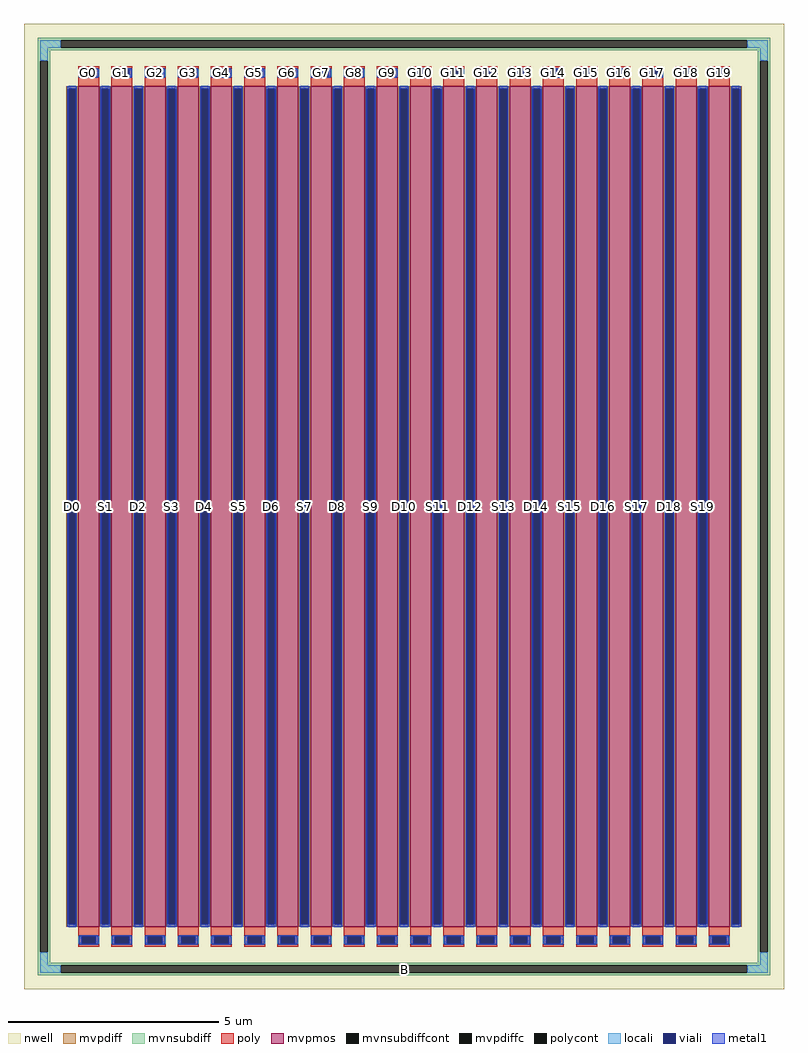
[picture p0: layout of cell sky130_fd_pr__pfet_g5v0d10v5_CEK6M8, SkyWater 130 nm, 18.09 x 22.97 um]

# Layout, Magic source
magic
tech sky130A
magscale 1 2
<< nwell >>
rect -1809 -2297 1809 2297
<< mvpmos >>
rect -1551 -2000 -1451 2000
rect -1393 -2000 -1293 2000
rect -1235 -2000 -1135 2000
rect -1077 -2000 -977 2000
rect -919 -2000 -819 2000
rect -761 -2000 -661 2000
rect -603 -2000 -503 2000
rect -445 -2000 -345 2000
rect -287 -2000 -187 2000
rect -129 -2000 -29 2000
rect 29 -2000 129 2000
rect 187 -2000 287 2000
rect 345 -2000 445 2000
rect 503 -2000 603 2000
rect 661 -2000 761 2000
rect 819 -2000 919 2000
rect 977 -2000 1077 2000
rect 1135 -2000 1235 2000
rect 1293 -2000 1393 2000
rect 1451 -2000 1551 2000
<< mvpdiff >>
rect -1609 1988 -1551 2000
rect -1609 -1988 -1597 1988
rect -1563 -1988 -1551 1988
rect -1609 -2000 -1551 -1988
rect -1451 1988 -1393 2000
rect -1451 -1988 -1439 1988
rect -1405 -1988 -1393 1988
rect -1451 -2000 -1393 -1988
rect -1293 1988 -1235 2000
rect -1293 -1988 -1281 1988
rect -1247 -1988 -1235 1988
rect -1293 -2000 -1235 -1988
rect -1135 1988 -1077 2000
rect -1135 -1988 -1123 1988
rect -1089 -1988 -1077 1988
rect -1135 -2000 -1077 -1988
rect -977 1988 -919 2000
rect -977 -1988 -965 1988
rect -931 -1988 -919 1988
rect -977 -2000 -919 -1988
rect -819 1988 -761 2000
rect -819 -1988 -807 1988
rect -773 -1988 -761 1988
rect -819 -2000 -761 -1988
rect -661 1988 -603 2000
rect -661 -1988 -649 1988
rect -615 -1988 -603 1988
rect -661 -2000 -603 -1988
rect -503 1988 -445 2000
rect -503 -1988 -491 1988
rect -457 -1988 -445 1988
rect -503 -2000 -445 -1988
rect -345 1988 -287 2000
rect -345 -1988 -333 1988
rect -299 -1988 -287 1988
rect -345 -2000 -287 -1988
rect -187 1988 -129 2000
rect -187 -1988 -175 1988
rect -141 -1988 -129 1988
rect -187 -2000 -129 -1988
rect -29 1988 29 2000
rect -29 -1988 -17 1988
rect 17 -1988 29 1988
rect -29 -2000 29 -1988
rect 129 1988 187 2000
rect 129 -1988 141 1988
rect 175 -1988 187 1988
rect 129 -2000 187 -1988
rect 287 1988 345 2000
rect 287 -1988 299 1988
rect 333 -1988 345 1988
rect 287 -2000 345 -1988
rect 445 1988 503 2000
rect 445 -1988 457 1988
rect 491 -1988 503 1988
rect 445 -2000 503 -1988
rect 603 1988 661 2000
rect 603 -1988 615 1988
rect 649 -1988 661 1988
rect 603 -2000 661 -1988
rect 761 1988 819 2000
rect 761 -1988 773 1988
rect 807 -1988 819 1988
rect 761 -2000 819 -1988
rect 919 1988 977 2000
rect 919 -1988 931 1988
rect 965 -1988 977 1988
rect 919 -2000 977 -1988
rect 1077 1988 1135 2000
rect 1077 -1988 1089 1988
rect 1123 -1988 1135 1988
rect 1077 -2000 1135 -1988
rect 1235 1988 1293 2000
rect 1235 -1988 1247 1988
rect 1281 -1988 1293 1988
rect 1235 -2000 1293 -1988
rect 1393 1988 1451 2000
rect 1393 -1988 1405 1988
rect 1439 -1988 1451 1988
rect 1393 -2000 1451 -1988
rect 1551 1988 1609 2000
rect 1551 -1988 1563 1988
rect 1597 -1988 1609 1988
rect 1551 -2000 1609 -1988
<< mvpdiffc >>
rect -1597 -1988 -1563 1988
rect -1439 -1988 -1405 1988
rect -1281 -1988 -1247 1988
rect -1123 -1988 -1089 1988
rect -965 -1988 -931 1988
rect -807 -1988 -773 1988
rect -649 -1988 -615 1988
rect -491 -1988 -457 1988
rect -333 -1988 -299 1988
rect -175 -1988 -141 1988
rect -17 -1988 17 1988
rect 141 -1988 175 1988
rect 299 -1988 333 1988
rect 457 -1988 491 1988
rect 615 -1988 649 1988
rect 773 -1988 807 1988
rect 931 -1988 965 1988
rect 1089 -1988 1123 1988
rect 1247 -1988 1281 1988
rect 1405 -1988 1439 1988
rect 1563 -1988 1597 1988
<< mvnsubdiff >>
rect -1743 2219 1743 2231
rect -1743 2185 -1635 2219
rect 1635 2185 1743 2219
rect -1743 2173 1743 2185
rect -1743 2123 -1685 2173
rect -1743 -2123 -1731 2123
rect -1697 -2123 -1685 2123
rect 1685 2123 1743 2173
rect -1743 -2173 -1685 -2123
rect 1685 -2123 1697 2123
rect 1731 -2123 1743 2123
rect 1685 -2173 1743 -2123
rect -1743 -2185 1743 -2173
rect -1743 -2219 -1635 -2185
rect 1635 -2219 1743 -2185
rect -1743 -2231 1743 -2219
<< mvnsubdiffcont >>
rect -1635 2185 1635 2219
rect -1731 -2123 -1697 2123
rect 1697 -2123 1731 2123
rect -1635 -2219 1635 -2185
<< poly >>
rect -1551 2081 -1451 2097
rect -1551 2047 -1535 2081
rect -1467 2047 -1451 2081
rect -1551 2000 -1451 2047
rect -1393 2081 -1293 2097
rect -1393 2047 -1377 2081
rect -1309 2047 -1293 2081
rect -1393 2000 -1293 2047
rect -1235 2081 -1135 2097
rect -1235 2047 -1219 2081
rect -1151 2047 -1135 2081
rect -1235 2000 -1135 2047
rect -1077 2081 -977 2097
rect -1077 2047 -1061 2081
rect -993 2047 -977 2081
rect -1077 2000 -977 2047
rect -919 2081 -819 2097
rect -919 2047 -903 2081
rect -835 2047 -819 2081
rect -919 2000 -819 2047
rect -761 2081 -661 2097
rect -761 2047 -745 2081
rect -677 2047 -661 2081
rect -761 2000 -661 2047
rect -603 2081 -503 2097
rect -603 2047 -587 2081
rect -519 2047 -503 2081
rect -603 2000 -503 2047
rect -445 2081 -345 2097
rect -445 2047 -429 2081
rect -361 2047 -345 2081
rect -445 2000 -345 2047
rect -287 2081 -187 2097
rect -287 2047 -271 2081
rect -203 2047 -187 2081
rect -287 2000 -187 2047
rect -129 2081 -29 2097
rect -129 2047 -113 2081
rect -45 2047 -29 2081
rect -129 2000 -29 2047
rect 29 2081 129 2097
rect 29 2047 45 2081
rect 113 2047 129 2081
rect 29 2000 129 2047
rect 187 2081 287 2097
rect 187 2047 203 2081
rect 271 2047 287 2081
rect 187 2000 287 2047
rect 345 2081 445 2097
rect 345 2047 361 2081
rect 429 2047 445 2081
rect 345 2000 445 2047
rect 503 2081 603 2097
rect 503 2047 519 2081
rect 587 2047 603 2081
rect 503 2000 603 2047
rect 661 2081 761 2097
rect 661 2047 677 2081
rect 745 2047 761 2081
rect 661 2000 761 2047
rect 819 2081 919 2097
rect 819 2047 835 2081
rect 903 2047 919 2081
rect 819 2000 919 2047
rect 977 2081 1077 2097
rect 977 2047 993 2081
rect 1061 2047 1077 2081
rect 977 2000 1077 2047
rect 1135 2081 1235 2097
rect 1135 2047 1151 2081
rect 1219 2047 1235 2081
rect 1135 2000 1235 2047
rect 1293 2081 1393 2097
rect 1293 2047 1309 2081
rect 1377 2047 1393 2081
rect 1293 2000 1393 2047
rect 1451 2081 1551 2097
rect 1451 2047 1467 2081
rect 1535 2047 1551 2081
rect 1451 2000 1551 2047
rect -1551 -2047 -1451 -2000
rect -1551 -2081 -1535 -2047
rect -1467 -2081 -1451 -2047
rect -1551 -2097 -1451 -2081
rect -1393 -2047 -1293 -2000
rect -1393 -2081 -1377 -2047
rect -1309 -2081 -1293 -2047
rect -1393 -2097 -1293 -2081
rect -1235 -2047 -1135 -2000
rect -1235 -2081 -1219 -2047
rect -1151 -2081 -1135 -2047
rect -1235 -2097 -1135 -2081
rect -1077 -2047 -977 -2000
rect -1077 -2081 -1061 -2047
rect -993 -2081 -977 -2047
rect -1077 -2097 -977 -2081
rect -919 -2047 -819 -2000
rect -919 -2081 -903 -2047
rect -835 -2081 -819 -2047
rect -919 -2097 -819 -2081
rect -761 -2047 -661 -2000
rect -761 -2081 -745 -2047
rect -677 -2081 -661 -2047
rect -761 -2097 -661 -2081
rect -603 -2047 -503 -2000
rect -603 -2081 -587 -2047
rect -519 -2081 -503 -2047
rect -603 -2097 -503 -2081
rect -445 -2047 -345 -2000
rect -445 -2081 -429 -2047
rect -361 -2081 -345 -2047
rect -445 -2097 -345 -2081
rect -287 -2047 -187 -2000
rect -287 -2081 -271 -2047
rect -203 -2081 -187 -2047
rect -287 -2097 -187 -2081
rect -129 -2047 -29 -2000
rect -129 -2081 -113 -2047
rect -45 -2081 -29 -2047
rect -129 -2097 -29 -2081
rect 29 -2047 129 -2000
rect 29 -2081 45 -2047
rect 113 -2081 129 -2047
rect 29 -2097 129 -2081
rect 187 -2047 287 -2000
rect 187 -2081 203 -2047
rect 271 -2081 287 -2047
rect 187 -2097 287 -2081
rect 345 -2047 445 -2000
rect 345 -2081 361 -2047
rect 429 -2081 445 -2047
rect 345 -2097 445 -2081
rect 503 -2047 603 -2000
rect 503 -2081 519 -2047
rect 587 -2081 603 -2047
rect 503 -2097 603 -2081
rect 661 -2047 761 -2000
rect 661 -2081 677 -2047
rect 745 -2081 761 -2047
rect 661 -2097 761 -2081
rect 819 -2047 919 -2000
rect 819 -2081 835 -2047
rect 903 -2081 919 -2047
rect 819 -2097 919 -2081
rect 977 -2047 1077 -2000
rect 977 -2081 993 -2047
rect 1061 -2081 1077 -2047
rect 977 -2097 1077 -2081
rect 1135 -2047 1235 -2000
rect 1135 -2081 1151 -2047
rect 1219 -2081 1235 -2047
rect 1135 -2097 1235 -2081
rect 1293 -2047 1393 -2000
rect 1293 -2081 1309 -2047
rect 1377 -2081 1393 -2047
rect 1293 -2097 1393 -2081
rect 1451 -2047 1551 -2000
rect 1451 -2081 1467 -2047
rect 1535 -2081 1551 -2047
rect 1451 -2097 1551 -2081
<< polycont >>
rect -1535 2047 -1467 2081
rect -1377 2047 -1309 2081
rect -1219 2047 -1151 2081
rect -1061 2047 -993 2081
rect -903 2047 -835 2081
rect -745 2047 -677 2081
rect -587 2047 -519 2081
rect -429 2047 -361 2081
rect -271 2047 -203 2081
rect -113 2047 -45 2081
rect 45 2047 113 2081
rect 203 2047 271 2081
rect 361 2047 429 2081
rect 519 2047 587 2081
rect 677 2047 745 2081
rect 835 2047 903 2081
rect 993 2047 1061 2081
rect 1151 2047 1219 2081
rect 1309 2047 1377 2081
rect 1467 2047 1535 2081
rect -1535 -2081 -1467 -2047
rect -1377 -2081 -1309 -2047
rect -1219 -2081 -1151 -2047
rect -1061 -2081 -993 -2047
rect -903 -2081 -835 -2047
rect -745 -2081 -677 -2047
rect -587 -2081 -519 -2047
rect -429 -2081 -361 -2047
rect -271 -2081 -203 -2047
rect -113 -2081 -45 -2047
rect 45 -2081 113 -2047
rect 203 -2081 271 -2047
rect 361 -2081 429 -2047
rect 519 -2081 587 -2047
rect 677 -2081 745 -2047
rect 835 -2081 903 -2047
rect 993 -2081 1061 -2047
rect 1151 -2081 1219 -2047
rect 1309 -2081 1377 -2047
rect 1467 -2081 1535 -2047
<< locali >>
rect -1731 2185 -1635 2219
rect 1635 2185 1731 2219
rect -1731 2123 -1697 2185
rect 1697 2123 1731 2185
rect -1551 2047 -1535 2081
rect -1467 2047 -1451 2081
rect -1393 2047 -1377 2081
rect -1309 2047 -1293 2081
rect -1235 2047 -1219 2081
rect -1151 2047 -1135 2081
rect -1077 2047 -1061 2081
rect -993 2047 -977 2081
rect -919 2047 -903 2081
rect -835 2047 -819 2081
rect -761 2047 -745 2081
rect -677 2047 -661 2081
rect -603 2047 -587 2081
rect -519 2047 -503 2081
rect -445 2047 -429 2081
rect -361 2047 -345 2081
rect -287 2047 -271 2081
rect -203 2047 -187 2081
rect -129 2047 -113 2081
rect -45 2047 -29 2081
rect 29 2047 45 2081
rect 113 2047 129 2081
rect 187 2047 203 2081
rect 271 2047 287 2081
rect 345 2047 361 2081
rect 429 2047 445 2081
rect 503 2047 519 2081
rect 587 2047 603 2081
rect 661 2047 677 2081
rect 745 2047 761 2081
rect 819 2047 835 2081
rect 903 2047 919 2081
rect 977 2047 993 2081
rect 1061 2047 1077 2081
rect 1135 2047 1151 2081
rect 1219 2047 1235 2081
rect 1293 2047 1309 2081
rect 1377 2047 1393 2081
rect 1451 2047 1467 2081
rect 1535 2047 1551 2081
rect -1597 1988 -1563 2004
rect -1597 -2004 -1563 -1988
rect -1439 1988 -1405 2004
rect -1439 -2004 -1405 -1988
rect -1281 1988 -1247 2004
rect -1281 -2004 -1247 -1988
rect -1123 1988 -1089 2004
rect -1123 -2004 -1089 -1988
rect -965 1988 -931 2004
rect -965 -2004 -931 -1988
rect -807 1988 -773 2004
rect -807 -2004 -773 -1988
rect -649 1988 -615 2004
rect -649 -2004 -615 -1988
rect -491 1988 -457 2004
rect -491 -2004 -457 -1988
rect -333 1988 -299 2004
rect -333 -2004 -299 -1988
rect -175 1988 -141 2004
rect -175 -2004 -141 -1988
rect -17 1988 17 2004
rect -17 -2004 17 -1988
rect 141 1988 175 2004
rect 141 -2004 175 -1988
rect 299 1988 333 2004
rect 299 -2004 333 -1988
rect 457 1988 491 2004
rect 457 -2004 491 -1988
rect 615 1988 649 2004
rect 615 -2004 649 -1988
rect 773 1988 807 2004
rect 773 -2004 807 -1988
rect 931 1988 965 2004
rect 931 -2004 965 -1988
rect 1089 1988 1123 2004
rect 1089 -2004 1123 -1988
rect 1247 1988 1281 2004
rect 1247 -2004 1281 -1988
rect 1405 1988 1439 2004
rect 1405 -2004 1439 -1988
rect 1563 1988 1597 2004
rect 1563 -2004 1597 -1988
rect -1551 -2081 -1535 -2047
rect -1467 -2081 -1451 -2047
rect -1393 -2081 -1377 -2047
rect -1309 -2081 -1293 -2047
rect -1235 -2081 -1219 -2047
rect -1151 -2081 -1135 -2047
rect -1077 -2081 -1061 -2047
rect -993 -2081 -977 -2047
rect -919 -2081 -903 -2047
rect -835 -2081 -819 -2047
rect -761 -2081 -745 -2047
rect -677 -2081 -661 -2047
rect -603 -2081 -587 -2047
rect -519 -2081 -503 -2047
rect -445 -2081 -429 -2047
rect -361 -2081 -345 -2047
rect -287 -2081 -271 -2047
rect -203 -2081 -187 -2047
rect -129 -2081 -113 -2047
rect -45 -2081 -29 -2047
rect 29 -2081 45 -2047
rect 113 -2081 129 -2047
rect 187 -2081 203 -2047
rect 271 -2081 287 -2047
rect 345 -2081 361 -2047
rect 429 -2081 445 -2047
rect 503 -2081 519 -2047
rect 587 -2081 603 -2047
rect 661 -2081 677 -2047
rect 745 -2081 761 -2047
rect 819 -2081 835 -2047
rect 903 -2081 919 -2047
rect 977 -2081 993 -2047
rect 1061 -2081 1077 -2047
rect 1135 -2081 1151 -2047
rect 1219 -2081 1235 -2047
rect 1293 -2081 1309 -2047
rect 1377 -2081 1393 -2047
rect 1451 -2081 1467 -2047
rect 1535 -2081 1551 -2047
rect -1731 -2185 -1697 -2123
rect 1697 -2185 1731 -2123
rect -1731 -2219 -1635 -2185
rect 1635 -2219 1731 -2185
<< viali >>
rect -1535 2047 -1467 2081
rect -1377 2047 -1309 2081
rect -1219 2047 -1151 2081
rect -1061 2047 -993 2081
rect -903 2047 -835 2081
rect -745 2047 -677 2081
rect -587 2047 -519 2081
rect -429 2047 -361 2081
rect -271 2047 -203 2081
rect -113 2047 -45 2081
rect 45 2047 113 2081
rect 203 2047 271 2081
rect 361 2047 429 2081
rect 519 2047 587 2081
rect 677 2047 745 2081
rect 835 2047 903 2081
rect 993 2047 1061 2081
rect 1151 2047 1219 2081
rect 1309 2047 1377 2081
rect 1467 2047 1535 2081
rect -1597 -1988 -1563 1988
rect -1439 -1988 -1405 1988
rect -1281 -1988 -1247 1988
rect -1123 -1988 -1089 1988
rect -965 -1988 -931 1988
rect -807 -1988 -773 1988
rect -649 -1988 -615 1988
rect -491 -1988 -457 1988
rect -333 -1988 -299 1988
rect -175 -1988 -141 1988
rect -17 -1988 17 1988
rect 141 -1988 175 1988
rect 299 -1988 333 1988
rect 457 -1988 491 1988
rect 615 -1988 649 1988
rect 773 -1988 807 1988
rect 931 -1988 965 1988
rect 1089 -1988 1123 1988
rect 1247 -1988 1281 1988
rect 1405 -1988 1439 1988
rect 1563 -1988 1597 1988
rect -1535 -2081 -1467 -2047
rect -1377 -2081 -1309 -2047
rect -1219 -2081 -1151 -2047
rect -1061 -2081 -993 -2047
rect -903 -2081 -835 -2047
rect -745 -2081 -677 -2047
rect -587 -2081 -519 -2047
rect -429 -2081 -361 -2047
rect -271 -2081 -203 -2047
rect -113 -2081 -45 -2047
rect 45 -2081 113 -2047
rect 203 -2081 271 -2047
rect 361 -2081 429 -2047
rect 519 -2081 587 -2047
rect 677 -2081 745 -2047
rect 835 -2081 903 -2047
rect 993 -2081 1061 -2047
rect 1151 -2081 1219 -2047
rect 1309 -2081 1377 -2047
rect 1467 -2081 1535 -2047
<< metal1 >>
rect -1547 2081 -1455 2087
rect -1547 2047 -1535 2081
rect -1467 2047 -1455 2081
rect -1547 2041 -1455 2047
rect -1389 2081 -1297 2087
rect -1389 2047 -1377 2081
rect -1309 2047 -1297 2081
rect -1389 2041 -1297 2047
rect -1231 2081 -1139 2087
rect -1231 2047 -1219 2081
rect -1151 2047 -1139 2081
rect -1231 2041 -1139 2047
rect -1073 2081 -981 2087
rect -1073 2047 -1061 2081
rect -993 2047 -981 2081
rect -1073 2041 -981 2047
rect -915 2081 -823 2087
rect -915 2047 -903 2081
rect -835 2047 -823 2081
rect -915 2041 -823 2047
rect -757 2081 -665 2087
rect -757 2047 -745 2081
rect -677 2047 -665 2081
rect -757 2041 -665 2047
rect -599 2081 -507 2087
rect -599 2047 -587 2081
rect -519 2047 -507 2081
rect -599 2041 -507 2047
rect -441 2081 -349 2087
rect -441 2047 -429 2081
rect -361 2047 -349 2081
rect -441 2041 -349 2047
rect -283 2081 -191 2087
rect -283 2047 -271 2081
rect -203 2047 -191 2081
rect -283 2041 -191 2047
rect -125 2081 -33 2087
rect -125 2047 -113 2081
rect -45 2047 -33 2081
rect -125 2041 -33 2047
rect 33 2081 125 2087
rect 33 2047 45 2081
rect 113 2047 125 2081
rect 33 2041 125 2047
rect 191 2081 283 2087
rect 191 2047 203 2081
rect 271 2047 283 2081
rect 191 2041 283 2047
rect 349 2081 441 2087
rect 349 2047 361 2081
rect 429 2047 441 2081
rect 349 2041 441 2047
rect 507 2081 599 2087
rect 507 2047 519 2081
rect 587 2047 599 2081
rect 507 2041 599 2047
rect 665 2081 757 2087
rect 665 2047 677 2081
rect 745 2047 757 2081
rect 665 2041 757 2047
rect 823 2081 915 2087
rect 823 2047 835 2081
rect 903 2047 915 2081
rect 823 2041 915 2047
rect 981 2081 1073 2087
rect 981 2047 993 2081
rect 1061 2047 1073 2081
rect 981 2041 1073 2047
rect 1139 2081 1231 2087
rect 1139 2047 1151 2081
rect 1219 2047 1231 2081
rect 1139 2041 1231 2047
rect 1297 2081 1389 2087
rect 1297 2047 1309 2081
rect 1377 2047 1389 2081
rect 1297 2041 1389 2047
rect 1455 2081 1547 2087
rect 1455 2047 1467 2081
rect 1535 2047 1547 2081
rect 1455 2041 1547 2047
rect -1603 1988 -1557 2000
rect -1603 -1988 -1597 1988
rect -1563 -1988 -1557 1988
rect -1603 -2000 -1557 -1988
rect -1445 1988 -1399 2000
rect -1445 -1988 -1439 1988
rect -1405 -1988 -1399 1988
rect -1445 -2000 -1399 -1988
rect -1287 1988 -1241 2000
rect -1287 -1988 -1281 1988
rect -1247 -1988 -1241 1988
rect -1287 -2000 -1241 -1988
rect -1129 1988 -1083 2000
rect -1129 -1988 -1123 1988
rect -1089 -1988 -1083 1988
rect -1129 -2000 -1083 -1988
rect -971 1988 -925 2000
rect -971 -1988 -965 1988
rect -931 -1988 -925 1988
rect -971 -2000 -925 -1988
rect -813 1988 -767 2000
rect -813 -1988 -807 1988
rect -773 -1988 -767 1988
rect -813 -2000 -767 -1988
rect -655 1988 -609 2000
rect -655 -1988 -649 1988
rect -615 -1988 -609 1988
rect -655 -2000 -609 -1988
rect -497 1988 -451 2000
rect -497 -1988 -491 1988
rect -457 -1988 -451 1988
rect -497 -2000 -451 -1988
rect -339 1988 -293 2000
rect -339 -1988 -333 1988
rect -299 -1988 -293 1988
rect -339 -2000 -293 -1988
rect -181 1988 -135 2000
rect -181 -1988 -175 1988
rect -141 -1988 -135 1988
rect -181 -2000 -135 -1988
rect -23 1988 23 2000
rect -23 -1988 -17 1988
rect 17 -1988 23 1988
rect -23 -2000 23 -1988
rect 135 1988 181 2000
rect 135 -1988 141 1988
rect 175 -1988 181 1988
rect 135 -2000 181 -1988
rect 293 1988 339 2000
rect 293 -1988 299 1988
rect 333 -1988 339 1988
rect 293 -2000 339 -1988
rect 451 1988 497 2000
rect 451 -1988 457 1988
rect 491 -1988 497 1988
rect 451 -2000 497 -1988
rect 609 1988 655 2000
rect 609 -1988 615 1988
rect 649 -1988 655 1988
rect 609 -2000 655 -1988
rect 767 1988 813 2000
rect 767 -1988 773 1988
rect 807 -1988 813 1988
rect 767 -2000 813 -1988
rect 925 1988 971 2000
rect 925 -1988 931 1988
rect 965 -1988 971 1988
rect 925 -2000 971 -1988
rect 1083 1988 1129 2000
rect 1083 -1988 1089 1988
rect 1123 -1988 1129 1988
rect 1083 -2000 1129 -1988
rect 1241 1988 1287 2000
rect 1241 -1988 1247 1988
rect 1281 -1988 1287 1988
rect 1241 -2000 1287 -1988
rect 1399 1988 1445 2000
rect 1399 -1988 1405 1988
rect 1439 -1988 1445 1988
rect 1399 -2000 1445 -1988
rect 1557 1988 1603 2000
rect 1557 -1988 1563 1988
rect 1597 -1988 1603 1988
rect 1557 -2000 1603 -1988
rect -1547 -2047 -1455 -2041
rect -1547 -2081 -1535 -2047
rect -1467 -2081 -1455 -2047
rect -1547 -2087 -1455 -2081
rect -1389 -2047 -1297 -2041
rect -1389 -2081 -1377 -2047
rect -1309 -2081 -1297 -2047
rect -1389 -2087 -1297 -2081
rect -1231 -2047 -1139 -2041
rect -1231 -2081 -1219 -2047
rect -1151 -2081 -1139 -2047
rect -1231 -2087 -1139 -2081
rect -1073 -2047 -981 -2041
rect -1073 -2081 -1061 -2047
rect -993 -2081 -981 -2047
rect -1073 -2087 -981 -2081
rect -915 -2047 -823 -2041
rect -915 -2081 -903 -2047
rect -835 -2081 -823 -2047
rect -915 -2087 -823 -2081
rect -757 -2047 -665 -2041
rect -757 -2081 -745 -2047
rect -677 -2081 -665 -2047
rect -757 -2087 -665 -2081
rect -599 -2047 -507 -2041
rect -599 -2081 -587 -2047
rect -519 -2081 -507 -2047
rect -599 -2087 -507 -2081
rect -441 -2047 -349 -2041
rect -441 -2081 -429 -2047
rect -361 -2081 -349 -2047
rect -441 -2087 -349 -2081
rect -283 -2047 -191 -2041
rect -283 -2081 -271 -2047
rect -203 -2081 -191 -2047
rect -283 -2087 -191 -2081
rect -125 -2047 -33 -2041
rect -125 -2081 -113 -2047
rect -45 -2081 -33 -2047
rect -125 -2087 -33 -2081
rect 33 -2047 125 -2041
rect 33 -2081 45 -2047
rect 113 -2081 125 -2047
rect 33 -2087 125 -2081
rect 191 -2047 283 -2041
rect 191 -2081 203 -2047
rect 271 -2081 283 -2047
rect 191 -2087 283 -2081
rect 349 -2047 441 -2041
rect 349 -2081 361 -2047
rect 429 -2081 441 -2047
rect 349 -2087 441 -2081
rect 507 -2047 599 -2041
rect 507 -2081 519 -2047
rect 587 -2081 599 -2047
rect 507 -2087 599 -2081
rect 665 -2047 757 -2041
rect 665 -2081 677 -2047
rect 745 -2081 757 -2047
rect 665 -2087 757 -2081
rect 823 -2047 915 -2041
rect 823 -2081 835 -2047
rect 903 -2081 915 -2047
rect 823 -2087 915 -2081
rect 981 -2047 1073 -2041
rect 981 -2081 993 -2047
rect 1061 -2081 1073 -2047
rect 981 -2087 1073 -2081
rect 1139 -2047 1231 -2041
rect 1139 -2081 1151 -2047
rect 1219 -2081 1231 -2047
rect 1139 -2087 1231 -2081
rect 1297 -2047 1389 -2041
rect 1297 -2081 1309 -2047
rect 1377 -2081 1389 -2047
rect 1297 -2087 1389 -2081
rect 1455 -2047 1547 -2041
rect 1455 -2081 1467 -2047
rect 1535 -2081 1547 -2047
rect 1455 -2087 1547 -2081
<< labels >>
rlabel mvnsubdiffcont 0 -2202 0 -2202 0 B
port 1 nsew
rlabel mvpdiffc -1580 0 -1580 0 0 D0
port 2 nsew
rlabel polycont -1501 2064 -1501 2064 0 G0
port 3 nsew
rlabel mvpdiffc -1422 0 -1422 0 0 S1
port 4 nsew
rlabel polycont -1343 2064 -1343 2064 0 G1
port 5 nsew
rlabel mvpdiffc -1264 0 -1264 0 0 D2
port 6 nsew
rlabel polycont -1185 2064 -1185 2064 0 G2
port 7 nsew
rlabel mvpdiffc -1106 0 -1106 0 0 S3
port 8 nsew
rlabel polycont -1027 2064 -1027 2064 0 G3
port 9 nsew
rlabel mvpdiffc -948 0 -948 0 0 D4
port 10 nsew
rlabel polycont -869 2064 -869 2064 0 G4
port 11 nsew
rlabel mvpdiffc -790 0 -790 0 0 S5
port 12 nsew
rlabel polycont -711 2064 -711 2064 0 G5
port 13 nsew
rlabel mvpdiffc -632 0 -632 0 0 D6
port 14 nsew
rlabel polycont -553 2064 -553 2064 0 G6
port 15 nsew
rlabel mvpdiffc -474 0 -474 0 0 S7
port 16 nsew
rlabel polycont -395 2064 -395 2064 0 G7
port 17 nsew
rlabel mvpdiffc -316 0 -316 0 0 D8
port 18 nsew
rlabel polycont -237 2064 -237 2064 0 G8
port 19 nsew
rlabel mvpdiffc -158 0 -158 0 0 S9
port 20 nsew
rlabel polycont -79 2064 -79 2064 0 G9
port 21 nsew
rlabel mvpdiffc 0 0 0 0 0 D10
port 22 nsew
rlabel polycont 79 2064 79 2064 0 G10
port 23 nsew
rlabel mvpdiffc 158 0 158 0 0 S11
port 24 nsew
rlabel polycont 237 2064 237 2064 0 G11
port 25 nsew
rlabel mvpdiffc 316 0 316 0 0 D12
port 26 nsew
rlabel polycont 395 2064 395 2064 0 G12
port 27 nsew
rlabel mvpdiffc 474 0 474 0 0 S13
port 28 nsew
rlabel polycont 553 2064 553 2064 0 G13
port 29 nsew
rlabel mvpdiffc 632 0 632 0 0 D14
port 30 nsew
rlabel polycont 711 2064 711 2064 0 G14
port 31 nsew
rlabel mvpdiffc 790 0 790 0 0 S15
port 32 nsew
rlabel polycont 869 2064 869 2064 0 G15
port 33 nsew
rlabel mvpdiffc 948 0 948 0 0 D16
port 34 nsew
rlabel polycont 1027 2064 1027 2064 0 G16
port 35 nsew
rlabel mvpdiffc 1106 0 1106 0 0 S17
port 36 nsew
rlabel polycont 1185 2064 1185 2064 0 G17
port 37 nsew
rlabel mvpdiffc 1264 0 1264 0 0 D18
port 38 nsew
rlabel polycont 1343 2064 1343 2064 0 G18
port 39 nsew
rlabel mvpdiffc 1422 0 1422 0 0 S19
port 40 nsew
rlabel polycont 1501 2064 1501 2064 0 G19
port 41 nsew
<< properties >>
string FIXED_BBOX -1714 -2202 1714 2202
string gencell sky130_fd_pr__pfet_g5v0d10v5
string library sky130
string parameters w 20 l 0.5 m 1 nf 20 diffcov 100 polycov 100 guard 1 glc 1 grc 1 gtc 1 gbc 1 tbcov 100 rlcov 100 topc 1 botc 1 poverlap 0 doverlap 1 lmin 0.50 wmin 0.42 class mosfet compatible {sky130_fd_pr__pfet_01v8  sky130_fd_pr__pfet_01v8_lvt sky130_fd_pr__pfet_01v8_hvt  sky130_fd_pr__pfet_g5v0d10v5} full_metal 1 conn_gates 0 viasrc 100 viadrn 100 viagate 100 viagb 0 viagr 0 viagl 0 viagt 0 doports 1
<< end >>
